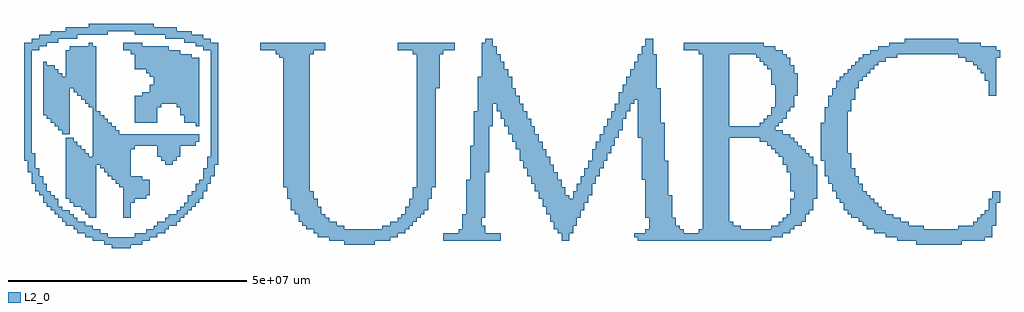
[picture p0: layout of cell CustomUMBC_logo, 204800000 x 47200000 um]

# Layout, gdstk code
import gdstk
lib = gdstk.Library(unit=1e-6, precision=1e-06)
def P(c, l, *ps):  # polygons
    for p in ps: c.add(gdstk.Polygon(p, *l))
L2_0 = (2, 0)

customumbc_logo = lib.new_cell('CustomUMBC_logo')
P(customumbc_logo, L2_0, [(-88800000,-17200000),(-88800000,-16400000),(-89600000,-16400000),(-89600000,-15600000),(-90400000,-15600000),(-90400000,-14800000),(-92000000,-14800000),(-92000000,-14000000),(-92800000,-14000000),(-92800000,-13200000),(-93600000,-13200000),(-93600000,-400000),(-92000000,-400000),(-92000000,-1200000),(-91200000,-1200000),(-91200000,-2000000),(-90400000,-2000000),(-90400000,-2800000),(-89600000,-2800000),(-89600000,-3600000),(-88800000,-3600000),(-88800000,-4400000),(-88000000,-4400000),(-88000000,6000000),(-88800000,6000000),(-88800000,6800000),(-89600000,6800000),(-89600000,7600000),(-90400000,7600000),(-90400000,8400000),(-91200000,8400000),(-91200000,9200000),(-92000000,9200000),(-92000000,10000000),(-92800000,10000000),(-92800000,400000),(-94400000,400000),(-94400000,1200000),(-95200000,1200000),(-95200000,2000000),(-96000000,2000000),(-96000000,2800000),(-96800000,2800000),(-96800000,3600000),(-97600000,3600000),(-97600000,4400000),(-98400000,4400000),(-98400000,15600000),(-97600000,15600000),(-97600000,14800000),(-96000000,14800000),(-96000000,14000000),(-95200000,14000000),(-95200000,13200000),(-94400000,13200000),(-94400000,12400000),(-93600000,12400000),(-93600000,18000000),(-92800000,18000000),(-92800000,18800000),(-88800000,18800000),(-88800000,19600000),(-88000000,19600000),(-88000000,18800000),(-87200000,18800000),(-87200000,5200000),(-86400000,5200000),(-86400000,4400000),(-85600000,4400000),(-85600000,3600000),(-84800000,3600000),(-84800000,2800000),(-84000000,2800000),(-84000000,2000000),(-83200000,2000000),(-83200000,1200000),(-82400000,1200000),(-82400000,400000),(-65600000,400000),(-65600000,-1200000),(-66400000,-1200000),(-66400000,-2000000),(-69600000,-2000000),(-69600000,-4400000),(-70400000,-4400000),(-70400000,-5200000),(-71200000,-5200000),(-71200000,-6000000),(-72800000,-6000000),(-72800000,-5200000),(-73600000,-5200000),(-73600000,-4400000),(-74400000,-4400000),(-74400000,-2000000),(-79200000,-2000000),(-79200000,-2800000),(-80000000,-2800000),(-80000000,-8400000),(-77600000,-8400000),(-77600000,-9200000),(-76000000,-9200000),(-76000000,-12400000),(-76800000,-12400000),(-76800000,-13200000),(-79200000,-13200000),(-79200000,-14000000),(-80000000,-14000000),(-80000000,-17200000),(-81600000,-17200000),(-81600000,-10800000),(-82400000,-10800000),(-82400000,-10000000),(-83200000,-10000000),(-83200000,-9200000),(-84000000,-9200000),(-84000000,-8400000),(-84800000,-8400000),(-84800000,-7600000),(-85600000,-7600000),(-85600000,-6800000),(-86400000,-6800000),(-86400000,-6000000),(-87200000,-6000000),(-87200000,-17200000)],
  [(-66400000,2000000),(-66400000,2800000),(-68800000,2800000),(-68800000,4400000),(-69600000,4400000),(-69600000,6000000),(-70400000,6000000),(-70400000,6800000),(-73600000,6800000),(-73600000,6000000),(-74400000,6000000),(-74400000,2800000),(-79200000,2800000),(-79200000,8400000),(-77600000,8400000),(-77600000,9200000),(-76000000,9200000),(-76000000,10800000),(-75200000,10800000),(-75200000,12400000),(-76000000,12400000),(-76000000,13200000),(-76800000,13200000),(-76800000,14000000),(-79200000,14000000),(-79200000,17200000),(-80000000,17200000),(-80000000,18000000),(-81600000,18000000),(-81600000,19600000),(-77600000,19600000),(-77600000,18800000),(-72000000,18800000),(-72000000,18000000),(-69600000,18000000),(-69600000,17200000),(-67200000,17200000),(-67200000,16400000),(-65600000,16400000),(-65600000,2000000)],
  [(-35200000,-22800000),(-35200000,-22000000),(-38400000,-22000000),(-38400000,-21200000),(-40800000,-21200000),(-40800000,-20400000),(-41600000,-20400000),(-41600000,-19600000),(-43200000,-19600000),(-43200000,-18800000),(-44000000,-18800000),(-44000000,-18000000),(-44800000,-18000000),(-44800000,-16400000),(-45600000,-16400000),(-45600000,-15600000),(-46400000,-15600000),(-46400000,-13200000),(-47200000,-13200000),(-47200000,-10800000),(-48000000,-10800000),(-48000000,16400000),(-48800000,16400000),(-48800000,17200000),(-49600000,17200000),(-49600000,18000000),(-52800000,18000000),(-52800000,19600000),(-39200000,19600000),(-39200000,18000000),(-41600000,18000000),(-41600000,17200000),(-42400000,17200000),(-42400000,-11600000),(-41600000,-11600000),(-41600000,-13200000),(-40800000,-13200000),(-40800000,-14800000),(-40000000,-14800000),(-40000000,-16400000),(-39200000,-16400000),(-39200000,-17200000),(-38400000,-17200000),(-38400000,-18000000),(-36800000,-18000000),(-36800000,-18800000),(-35200000,-18800000),(-35200000,-19600000),(-27200000,-19600000),(-27200000,-18800000),(-25600000,-18800000),(-25600000,-18000000),(-24000000,-18000000),(-24000000,-17200000),(-23200000,-17200000),(-23200000,-16400000),(-22400000,-16400000),(-22400000,-14800000),(-21600000,-14800000),(-21600000,-13200000),(-20800000,-13200000),(-20800000,-10800000),(-20000000,-10800000),(-20000000,17200000),(-20800000,17200000),(-20800000,18000000),(-24000000,18000000),(-24000000,19600000),(-12000000,19600000),(-12000000,18000000),(-14400000,18000000),(-14400000,17200000),(-15200000,17200000),(-15200000,10000000),(-16000000,10000000),(-16000000,-10800000),(-16800000,-10800000),(-16800000,-13200000),(-17600000,-13200000),(-17600000,-15600000),(-18400000,-15600000),(-18400000,-16400000),(-19200000,-16400000),(-19200000,-17200000),(-20000000,-17200000),(-20000000,-18000000),(-20800000,-18000000),(-20800000,-18800000),(-21600000,-18800000),(-21600000,-19600000),(-22400000,-19600000),(-22400000,-20400000),(-24000000,-20400000),(-24000000,-21200000),(-25600000,-21200000),(-25600000,-22000000),(-28800000,-22000000),(-28800000,-22800000)],
  [(-14400000,-22000000),(-14400000,-20400000),(-11200000,-20400000),(-11200000,-19600000),(-10400000,-19600000),(-10400000,-16400000),(-9600000,-16400000),(-9600000,-9200000),(-8800000,-9200000),(-8800000,-2000000),(-8000000,-2000000),(-8000000,5200000),(-7200000,5200000),(-7200000,12400000),(-6400000,12400000),(-6400000,19600000),(-5600000,19600000),(-5600000,20400000),(-4000000,20400000),(-4000000,18800000),(-3200000,18800000),(-3200000,17200000),(-2400000,17200000),(-2400000,15600000),(-1600000,15600000),(-1600000,14000000),(-800000,14000000),(-800000,12400000),(0,12400000),(0,10000000),(800000,10000000),(800000,8400000),(1600000,8400000),(1600000,6800000),(2400000,6800000),(2400000,5200000),(3200000,5200000),(3200000,3600000),(4000000,3600000),(4000000,2000000),(4800000,2000000),(4800000,400000),(5600000,400000),(5600000,-1200000),(6400000,-1200000),(6400000,-2800000),(7200000,-2800000),(7200000,-4400000),(8000000,-4400000),(8000000,-6000000),(8800000,-6000000),(8800000,-7600000),(9600000,-7600000),(9600000,-9200000),(10400000,-9200000),(10400000,-10800000),(11200000,-10800000),(11200000,-12400000),(12000000,-12400000),(12000000,-13200000),(12800000,-13200000),(12800000,-11600000),(13600000,-11600000),(13600000,-10000000),(14400000,-10000000),(14400000,-8400000),(15200000,-8400000),(15200000,-6800000),(16000000,-6800000),(16000000,-5200000),(16800000,-5200000),(16800000,-2800000),(17600000,-2800000),(17600000,-1200000),(18400000,-1200000),(18400000,400000),(19200000,400000),(19200000,2000000),(20000000,2000000),(20000000,3600000),(20800000,3600000),(20800000,5200000),(21600000,5200000),(21600000,6800000),(22400000,6800000),(22400000,9200000),(23200000,9200000),(23200000,10800000),(24000000,10800000),(24000000,12400000),(24800000,12400000),(24800000,14000000),(25600000,14000000),(25600000,15600000),(26400000,15600000),(26400000,17200000),(27200000,17200000),(27200000,18800000),(28000000,18800000),(28000000,20400000),(29600000,20400000),(29600000,17200000),(30400000,17200000),(30400000,10000000),(31200000,10000000),(31200000,2800000),(32000000,2800000),(32000000,-5200000),(32800000,-5200000),(32800000,-12400000),(33600000,-12400000),(33600000,-17200000),(34400000,-17200000),(34400000,-18800000),(35200000,-18800000),(35200000,-19600000),(36000000,-19600000),(36000000,-20400000),(39200000,-20400000),(39200000,-19600000),(40000000,-19600000),(40000000,-400000),(45600000,-400000),(45600000,-18000000),(46400000,-18000000),(46400000,-18800000),(48000000,-18800000),(48000000,-19600000),(54400000,-19600000),(54400000,-18800000),(56000000,-18800000),(56000000,-18000000),(56800000,-18000000),(56800000,-17200000),(57600000,-17200000),(57600000,-16400000),(58400000,-16400000),(58400000,-13200000),(59200000,-13200000),(59200000,-11600000),(58400000,-11600000),(58400000,-7600000),(57600000,-7600000),(57600000,-6000000),(56800000,-6000000),(56800000,-4400000),(56000000,-4400000),(56000000,-3600000),(55200000,-3600000),(55200000,-2800000),(54400000,-2800000),(54400000,-2000000),(53600000,-2000000),(53600000,-1200000),(52000000,-1200000),(52000000,-400000),(40000000,-400000),(40000000,17200000),(45600000,17200000),(45600000,2000000),(52000000,2000000),(52000000,2800000),(52800000,2800000),(52800000,3600000),(53600000,3600000),(53600000,4400000),(54400000,4400000),(54400000,6000000),(55200000,6000000),(55200000,10800000),(54400000,10800000),(54400000,14000000),(53600000,14000000),(53600000,14800000),(52800000,14800000),(52800000,15600000),(52000000,15600000),(52000000,16400000),(51200000,16400000),(51200000,17200000),(39200000,17200000),(39200000,18000000),(36000000,18000000),(36000000,19600000),(52800000,19600000),(52800000,18800000),(55200000,18800000),(55200000,18000000),(56800000,18000000),(56800000,17200000),(57600000,17200000),(57600000,16400000),(58400000,16400000),(58400000,14800000),(59200000,14800000),(59200000,13200000),(60000000,13200000),(60000000,8400000),(59200000,8400000),(59200000,6000000),(58400000,6000000),(58400000,5200000),(57600000,5200000),(57600000,3600000),(56800000,3600000),(56800000,2800000),(56000000,2800000),(56000000,2000000),(55200000,2000000),(55200000,1200000),(56800000,1200000),(56800000,400000),(58400000,400000),(58400000,-400000),(59200000,-400000),(59200000,-1200000),(60000000,-1200000),(60000000,-2000000),(60800000,-2000000),(60800000,-2800000),(61600000,-2800000),(61600000,-3600000),(62400000,-3600000),(62400000,-4400000),(63200000,-4400000),(63200000,-6000000),(64000000,-6000000),(64000000,-13200000),(63200000,-13200000),(63200000,-15600000),(62400000,-15600000),(62400000,-16400000),(61600000,-16400000),(61600000,-18000000),(60800000,-18000000),(60800000,-18800000),(59200000,-18800000),(59200000,-19600000),(58400000,-19600000),(58400000,-20400000),(56800000,-20400000),(56800000,-21200000),(54400000,-21200000),(54400000,-22000000),(26400000,-22000000),(26400000,-21200000),(25600000,-21200000),(25600000,-20400000),(28000000,-20400000),(28000000,-19600000),(28800000,-19600000),(28800000,-17200000),(28000000,-17200000),(28000000,-9200000),(27200000,-9200000),(27200000,-400000),(26400000,-400000),(26400000,7600000),(25600000,7600000),(25600000,6800000),(24800000,6800000),(24800000,5200000),(24000000,5200000),(24000000,3600000),(23200000,3600000),(23200000,1200000),(22400000,1200000),(22400000,-400000),(21600000,-400000),(21600000,-2000000),(20800000,-2000000),(20800000,-3600000),(20000000,-3600000),(20000000,-5200000),(19200000,-5200000),(19200000,-6800000),(18400000,-6800000),(18400000,-8400000),(17600000,-8400000),(17600000,-10000000),(16800000,-10000000),(16800000,-12400000),(16000000,-12400000),(16000000,-14000000),(15200000,-14000000),(15200000,-15600000),(14400000,-15600000),(14400000,-17200000),(13600000,-17200000),(13600000,-18800000),(12800000,-18800000),(12800000,-20400000),(12000000,-20400000),(12000000,-22000000),(10400000,-22000000),(10400000,-20400000),(9600000,-20400000),(9600000,-19600000),(8800000,-19600000),(8800000,-18000000),(8000000,-18000000),(8000000,-16400000),(7200000,-16400000),(7200000,-14800000),(6400000,-14800000),(6400000,-13200000),(5600000,-13200000),(5600000,-11600000),(4800000,-11600000),(4800000,-10000000),(4000000,-10000000),(4000000,-8400000),(3200000,-8400000),(3200000,-6800000),(2400000,-6800000),(2400000,-5200000),(1600000,-5200000),(1600000,-2800000),(800000,-2800000),(800000,-1200000),(0,-1200000),(0,400000),(-800000,400000),(-800000,2000000),(-1600000,2000000),(-1600000,3600000),(-2400000,3600000),(-2400000,5200000),(-3200000,5200000),(-3200000,6800000),(-4000000,6800000),(-4000000,2000000),(-4800000,2000000),(-4800000,-7600000),(-5600000,-7600000),(-5600000,-17200000),(-6400000,-17200000),(-6400000,-18800000),(-5600000,-18800000),(-5600000,-20400000),(-2400000,-20400000),(-2400000,-22000000)],
  [(84800000,-22800000),(84800000,-22000000),(80800000,-22000000),(80800000,-21200000),(78400000,-21200000),(78400000,-20400000),(76000000,-20400000),(76000000,-19600000),(74400000,-19600000),(74400000,-18800000),(73600000,-18800000),(73600000,-18000000),(72800000,-18000000),(72800000,-17200000),(71200000,-17200000),(71200000,-16400000),(70400000,-16400000),(70400000,-15600000),(69600000,-15600000),(69600000,-14000000),(68800000,-14000000),(68800000,-13200000),(68000000,-13200000),(68000000,-11600000),(67200000,-11600000),(67200000,-10000000),(66400000,-10000000),(66400000,-8400000),(65600000,-8400000),(65600000,-5200000),(64800000,-5200000),(64800000,2800000),(65600000,2800000),(65600000,6000000),(66400000,6000000),(66400000,8400000),(67200000,8400000),(67200000,10000000),(68000000,10000000),(68000000,11600000),(68800000,11600000),(68800000,12400000),(69600000,12400000),(69600000,13200000),(70400000,13200000),(70400000,14000000),(71200000,14000000),(71200000,14800000),(72000000,14800000),(72000000,15600000),(72800000,15600000),(72800000,16400000),(73600000,16400000),(73600000,17200000),(75200000,17200000),(75200000,18000000),(76800000,18000000),(76800000,18800000),(79200000,18800000),(79200000,19600000),(82400000,19600000),(82400000,20400000),(93600000,20400000),(93600000,19600000),(98400000,19600000),(98400000,18800000),(101600000,18800000),(101600000,18000000),(102400000,18000000),(102400000,16400000),(101600000,16400000),(101600000,8400000),(100000000,8400000),(100000000,11600000),(99200000,11600000),(99200000,13200000),(98400000,13200000),(98400000,14000000),(97600000,14000000),(97600000,14800000),(96800000,14800000),(96800000,15600000),(95200000,15600000),(95200000,16400000),(93600000,16400000),(93600000,17200000),(80800000,17200000),(80800000,16400000),(78400000,16400000),(78400000,15600000),(76800000,15600000),(76800000,14800000),(76000000,14800000),(76000000,14000000),(75200000,14000000),(75200000,13200000),(74400000,13200000),(74400000,12400000),(73600000,12400000),(73600000,11600000),(72800000,11600000),(72800000,10000000),(72000000,10000000),(72000000,7600000),(71200000,7600000),(71200000,5200000),(70400000,5200000),(70400000,-3600000),(71200000,-3600000),(71200000,-6800000),(72000000,-6800000),(72000000,-8400000),(72800000,-8400000),(72800000,-10000000),(73600000,-10000000),(73600000,-11600000),(74400000,-11600000),(74400000,-12400000),(75200000,-12400000),(75200000,-13200000),(76000000,-13200000),(76000000,-14000000),(76800000,-14000000),(76800000,-14800000),(77600000,-14800000),(77600000,-15600000),(78400000,-15600000),(78400000,-16400000),(80000000,-16400000),(80000000,-17200000),(81600000,-17200000),(81600000,-18000000),(83200000,-18000000),(83200000,-18800000),(86400000,-18800000),(86400000,-19600000),(93600000,-19600000),(93600000,-18800000),(96800000,-18800000),(96800000,-18000000),(97600000,-18000000),(97600000,-17200000),(98400000,-17200000),(98400000,-16400000),(99200000,-16400000),(99200000,-15600000),(100000000,-15600000),(100000000,-13200000),(100800000,-13200000),(100800000,-11600000),(102400000,-11600000),(102400000,-14000000),(101600000,-14000000),(101600000,-18800000),(100800000,-18800000),(100800000,-21200000),(99200000,-21200000),(99200000,-22000000),(94400000,-22000000),(94400000,-22800000)],
  [(-84000000,-23600000),(-84000000,-22800000),(-85600000,-22800000),(-85600000,-22000000),(-88000000,-22000000),(-88000000,-21200000),(-89600000,-21200000),(-89600000,-20400000),(-91200000,-20400000),(-91200000,-19600000),(-92000000,-19600000),(-92000000,-18800000),(-93600000,-18800000),(-93600000,-18000000),(-94400000,-18000000),(-94400000,-17200000),(-95200000,-17200000),(-95200000,-16400000),(-96000000,-16400000),(-96000000,-15600000),(-96800000,-15600000),(-96800000,-14800000),(-97600000,-14800000),(-97600000,-14000000),(-98400000,-14000000),(-98400000,-12400000),(-99200000,-12400000),(-99200000,-11600000),(-100000000,-11600000),(-100000000,-10000000),(-100800000,-10000000),(-100800000,-7600000),(-101600000,-7600000),(-101600000,-5200000),(-102400000,-5200000),(-102400000,19600000),(-100800000,19600000),(-100800000,20400000),(-99200000,20400000),(-99200000,21200000),(-96800000,21200000),(-96800000,22000000),(-84800000,22000000),(-84800000,21200000),(-91200000,21200000),(-91200000,20400000),(-95200000,20400000),(-95200000,19600000),(-97600000,19600000),(-97600000,18800000),(-99200000,18800000),(-99200000,18000000),(-100800000,18000000),(-100800000,-3600000),(-100000000,-3600000),(-100000000,-6800000),(-99200000,-6800000),(-99200000,-8400000),(-98400000,-8400000),(-98400000,-10000000),(-97600000,-10000000),(-97600000,-11600000),(-96800000,-11600000),(-96800000,-12400000),(-96000000,-12400000),(-96000000,-13200000),(-95200000,-13200000),(-95200000,-14800000),(-94400000,-14800000),(-94400000,-15600000),(-92800000,-15600000),(-92800000,-16400000),(-92000000,-16400000),(-92000000,-17200000),(-91200000,-17200000),(-91200000,-18000000),(-89600000,-18000000),(-89600000,-18800000),(-88000000,-18800000),(-88000000,-19600000),(-86400000,-19600000),(-86400000,-20400000),(-84800000,-20400000),(-84800000,-21200000),(-79200000,-21200000),(-79200000,-20400000),(-76800000,-20400000),(-76800000,-19600000),(-75200000,-19600000),(-75200000,-18800000),(-74400000,-18800000),(-74400000,-18000000),(-72800000,-18000000),(-72800000,-17200000),(-72000000,-17200000),(-72000000,-16400000),(-70400000,-16400000),(-70400000,-15600000),(-69600000,-15600000),(-69600000,-14800000),(-68800000,-14800000),(-68800000,-14000000),(-68000000,-14000000),(-68000000,-12400000),(-67200000,-12400000),(-67200000,-11600000),(-66400000,-11600000),(-66400000,-10000000),(-65600000,-10000000),(-65600000,-9200000),(-64800000,-9200000),(-64800000,-6800000),(-64000000,-6800000),(-64000000,-4400000),(-63200000,-4400000),(-63200000,18000000),(-64800000,18000000),(-64800000,18800000),(-66400000,18800000),(-66400000,19600000),(-68800000,19600000),(-68800000,20400000),(-72800000,20400000),(-72800000,21200000),(-79200000,21200000),(-79200000,22000000),(-93600000,22000000),(-93600000,22800000),(-88800000,22800000),(-88800000,23600000),(-75200000,23600000),(-75200000,22800000),(-70400000,22800000),(-70400000,22000000),(-67200000,22000000),(-67200000,21200000),(-64800000,21200000),(-64800000,20400000),(-63200000,20400000),(-63200000,19600000),(-61600000,19600000),(-61600000,-6000000),(-62400000,-6000000),(-62400000,-8400000),(-63200000,-8400000),(-63200000,-10000000),(-64000000,-10000000),(-64000000,-11600000),(-64800000,-11600000),(-64800000,-13200000),(-65600000,-13200000),(-65600000,-14000000),(-66400000,-14000000),(-66400000,-14800000),(-67200000,-14800000),(-67200000,-15600000),(-68000000,-15600000),(-68000000,-16400000),(-68800000,-16400000),(-68800000,-17200000),(-69600000,-17200000),(-69600000,-18000000),(-70400000,-18000000),(-70400000,-18800000),(-72000000,-18800000),(-72000000,-19600000),(-72800000,-19600000),(-72800000,-20400000),(-74400000,-20400000),(-74400000,-21200000),(-76000000,-21200000),(-76000000,-22000000),(-77600000,-22000000),(-77600000,-22800000),(-80000000,-22800000),(-80000000,-23600000)])

lib.write_gds('CustomUMBC_logo.gds')
